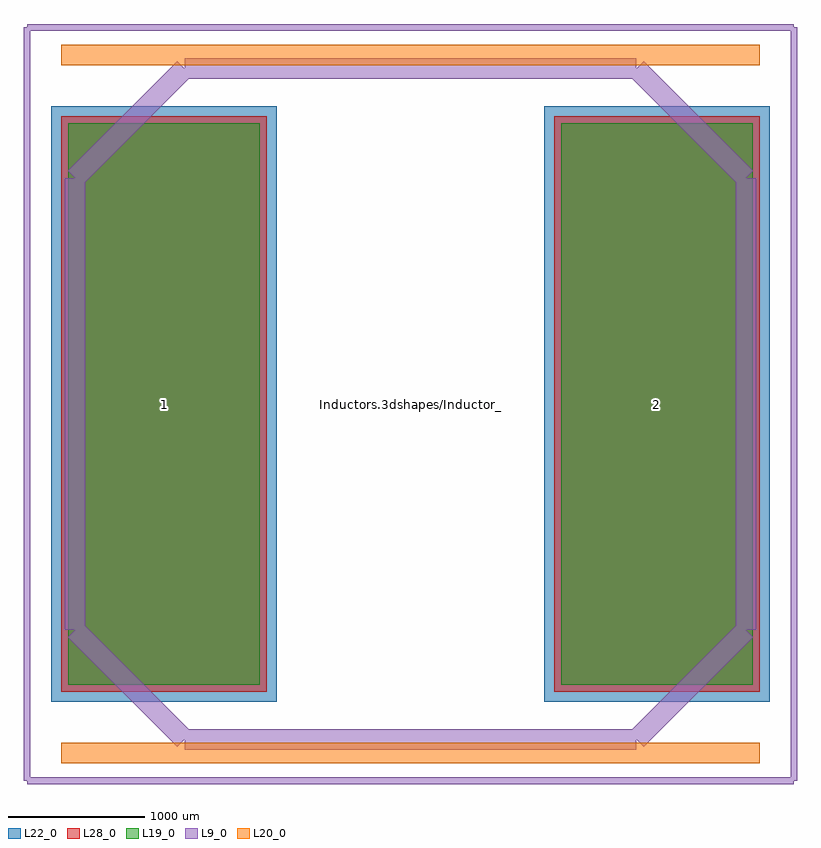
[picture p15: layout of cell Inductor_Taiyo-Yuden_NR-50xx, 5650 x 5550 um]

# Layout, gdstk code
import gdstk
lib = gdstk.Library(unit=1e-6, precision=1e-09)
def R(c, l, rs):  # rectangles x0, y0, x1, y1
    for r in rs: c.add(gdstk.rectangle(r[:2], r[2:], *l))
L9_0 = (9, 0)
L19_0 = (19, 0)
L20_0 = (20, 0)
L22_0 = (22, 0)
L28_0 = (28, 0)

inductor_taiyo_yuden_nr_ = lib.new_cell('Inductor_Taiyo-Yuden_NR-50xx')
R(inductor_taiyo_yuden_nr_, L19_0, [(-2500,-2050,-1100,2050), (1100,-2050,2500,2050)])
R(inductor_taiyo_yuden_nr_, L22_0, [(-2625,-2175,-975,2175), (975,-2175,2625,2175)])
R(inductor_taiyo_yuden_nr_, L28_0, [(-2550,-2100,-1050,2100), (1050,-2100,2550,2100)])
inductor_taiyo_yuden_nr_.add(gdstk.FlexPath([(2800,2750),(-2800,2750)], 50, ends="flush", simple_path=True, layer=9, datatype=0))  # L9_0
inductor_taiyo_yuden_nr_.add(gdstk.FlexPath([(2800,-2750),(2800,2750)], 50, ends="flush", simple_path=True, layer=9, datatype=0))  # L9_0
inductor_taiyo_yuden_nr_.add(gdstk.FlexPath([(-2800,-2750),(2800,-2750)], 50, ends="flush", simple_path=True, layer=9, datatype=0))  # L9_0
inductor_taiyo_yuden_nr_.add(gdstk.FlexPath([(-2800,2750),(-2800,-2750)], 50, ends="flush", simple_path=True, layer=9, datatype=0))  # L9_0
inductor_taiyo_yuden_nr_.add(gdstk.FlexPath([(-2550,-2550),(2550,-2550)], 149.998, ends="flush", simple_path=True, layer=20, datatype=0))  # L20_0
inductor_taiyo_yuden_nr_.add(gdstk.FlexPath([(-2550,2550),(2550,2550)], 149.998, ends="flush", simple_path=True, layer=20, datatype=0))  # L20_0
inductor_taiyo_yuden_nr_.add(gdstk.FlexPath([(-1650,-2450),(0,-2450)], 149.998, ends="flush", simple_path=True, layer=9, datatype=0))  # L9_0
inductor_taiyo_yuden_nr_.add(gdstk.FlexPath([(-2450,-1650),(-1650,-2450)], 149.998, ends="flush", simple_path=True, layer=9, datatype=0))  # L9_0
inductor_taiyo_yuden_nr_.add(gdstk.FlexPath([(-2450,0),(-2450,-1650)], 149.998, ends="flush", simple_path=True, layer=9, datatype=0))  # L9_0
inductor_taiyo_yuden_nr_.add(gdstk.FlexPath([(1650,-2450),(0,-2450)], 149.998, ends="flush", simple_path=True, layer=9, datatype=0))  # L9_0
inductor_taiyo_yuden_nr_.add(gdstk.FlexPath([(2450,-1650),(1650,-2450)], 149.998, ends="flush", simple_path=True, layer=9, datatype=0))  # L9_0
inductor_taiyo_yuden_nr_.add(gdstk.FlexPath([(2450,0),(2450,-1650)], 149.998, ends="flush", simple_path=True, layer=9, datatype=0))  # L9_0
inductor_taiyo_yuden_nr_.add(gdstk.FlexPath([(1650,2450),(0,2450)], 149.998, ends="flush", simple_path=True, layer=9, datatype=0))  # L9_0
inductor_taiyo_yuden_nr_.add(gdstk.FlexPath([(2450,1650),(1650,2450)], 149.998, ends="flush", simple_path=True, layer=9, datatype=0))  # L9_0
inductor_taiyo_yuden_nr_.add(gdstk.FlexPath([(2450,0),(2450,1650)], 149.998, ends="flush", simple_path=True, layer=9, datatype=0))  # L9_0
inductor_taiyo_yuden_nr_.add(gdstk.FlexPath([(-1650,2450),(0,2450)], 149.998, ends="flush", simple_path=True, layer=9, datatype=0))  # L9_0
inductor_taiyo_yuden_nr_.add(gdstk.FlexPath([(-2450,1650),(-1650,2450)], 149.998, ends="flush", simple_path=True, layer=9, datatype=0))  # L9_0
inductor_taiyo_yuden_nr_.add(gdstk.FlexPath([(-2450,0),(-2450,1650)], 149.998, ends="flush", simple_path=True, layer=9, datatype=0))  # L9_0
inductor_taiyo_yuden_nr_.add(gdstk.Label('Inductors.3dshapes/Inductor_Taiyo-Yuden_NR-50xx.wrl', (0,0), layer=12, texttype=0))
inductor_taiyo_yuden_nr_.add(gdstk.Label('2', (1800,0), layer=28, texttype=0))
inductor_taiyo_yuden_nr_.add(gdstk.Label('1', (-1800,0), layer=28, texttype=0))
inductor_taiyo_yuden_nr_.add(gdstk.Label('type', (0,-3950), layer=9, texttype=0))
inductor_taiyo_yuden_nr_.add(gdstk.Label('devicename', (0,3450), layer=9, texttype=0))

lib.write_gds('Inductor_Taiyo-Yuden_NR-50xx.gds')
